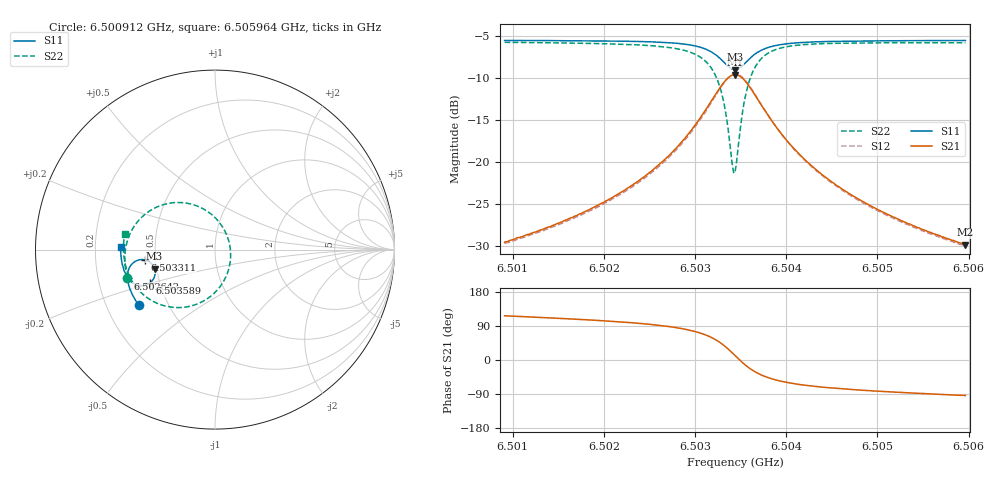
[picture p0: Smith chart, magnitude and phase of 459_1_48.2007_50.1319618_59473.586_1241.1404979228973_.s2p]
#  HZ  S  RI  R  50.00
! Rohde & Schwarz Vector Network Analyzer
! Rohde-Schwarz,ZNB20-2Port,1311601062101988,3.16
! Created: UTC 3/20/2024, 11:56:39 AM
! freq[Hz]  re:S11  im:S11  re:S21  im:S21  re:S12  im:S12  re:S22  im:S22
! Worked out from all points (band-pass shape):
!   401 points, 6.500912 GHz to 6.505964 GHz, reference 50 ohm
!   highest |S21| = -9.63 dB at 6.503438 GHz (marker M1); lowest = -29.9 dB at 6.505964 GHz (marker M2)
!   |S21| within 3 dB of the highest: 6.503186 GHz to 6.503691 GHz (504.8 kHz wide, 0.00776 % of centre)
!   lowest |S11| = -9.0 dB at 6.503438 GHz (marker M3), VSWR 2.09, Z = 24.3 - j5.91 ohm
!   |S11| at or under -10 dB: nowhere
!   |S22| runs from -21.3 to -5.8 dB; largest |S21 - S12| = 0.012
!   S11 on the Smith chart (normalised r, x): 6.500912 GHz: 0.34, -0.29; 6.502642 GHz: 0.33, -0.14; 6.503311 GHz: 0.44, -0.06; 6.503589 GHz: 0.44, -0.20; 6.505964 GHz: 0.31, +0.01
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6.5009115e9  -0.4249 -0.311  -0.015 0.0297  -0.0132 0.03  -0.4882 -0.1585
6.5017578e9  -0.4615 -0.2488  -0.0142 0.0474  -0.0118 0.0471  -0.5021 -0.0693
6.5022251e9  -0.4781 -0.2077  -0.0115 0.0667  -0.00838 0.0658  -0.4995 -0.0035
6.5026041e9  -0.487 -0.1658  -0.00259 0.0962  0.00112 0.0939  -0.4804 0.0716
6.5026419e9  -0.4874 -0.161  -0.000736 0.1004  0.00289 0.0977  -0.4765 0.081
6.5029198e9  -0.4836 -0.1181  0.0257 0.1427  0.0295 0.1383  -0.4216 0.1669
6.5031093e9  -0.4624 -0.08  0.0795 0.1847  0.0821 0.1787  -0.3188 0.2396
6.503223e9  -0.4299 -0.0591  0.1485 0.2027  0.1495 0.1963  -0.1946 0.2622
6.5033114e9  -0.3895 -0.0573  0.2278 0.1867  0.2284 0.1814  -0.0577 0.2226
6.5033493e9  -0.3702 -0.0649  0.2643 0.1638  0.2653 0.159  0.00268 0.176
6.5034124e9  -0.3432 -0.0915  0.3124 0.0999  0.3151 0.0948  0.0754 0.0531
6.5034377e9  -0.3367 -0.1062  0.3228 0.0676  0.3263 0.0618  0.0865 -0.00712
6.5034629e9  -0.3338 -0.122  0.3265 0.0339  0.3301 0.0267  0.0847 -0.0687
6.5035261e9  -0.3408 -0.1595  0.3085 -0.0444  0.3107 -0.0545  0.0296 -0.2046
6.5035892e9  -0.362 -0.1855  0.2655 -0.0989  0.2645 -0.1103  -0.0674 -0.2881
6.5036903e9  -0.4017 -0.2009  0.1906 -0.1352  0.1853 -0.145  -0.2179 -0.3229
6.5038545e9  -0.4481 -0.1912  0.1086 -0.1323  0.1016 -0.1374  -0.3656 -0.2762
6.5040313e9  -0.4756 -0.1698  0.0641 -0.1119  0.0577 -0.1145  -0.4377 -0.2113
6.5042839e9  -0.4963 -0.1399  0.0339 -0.0877  0.0292 -0.0884  -0.4812 -0.139
6.5046502e9  -0.5115 -0.1017  0.0155 -0.0651  0.0119 -0.0647  -0.5035 -0.0663
6.5051302e9  -0.5212 -0.0572  0.00506 -0.048  0.00266 -0.0473  -0.5099 0.00153
6.5059638e9  -0.5261 0.0132  -0.00207 -0.0321  -0.0034 -0.0314  -0.5021 0.0895
